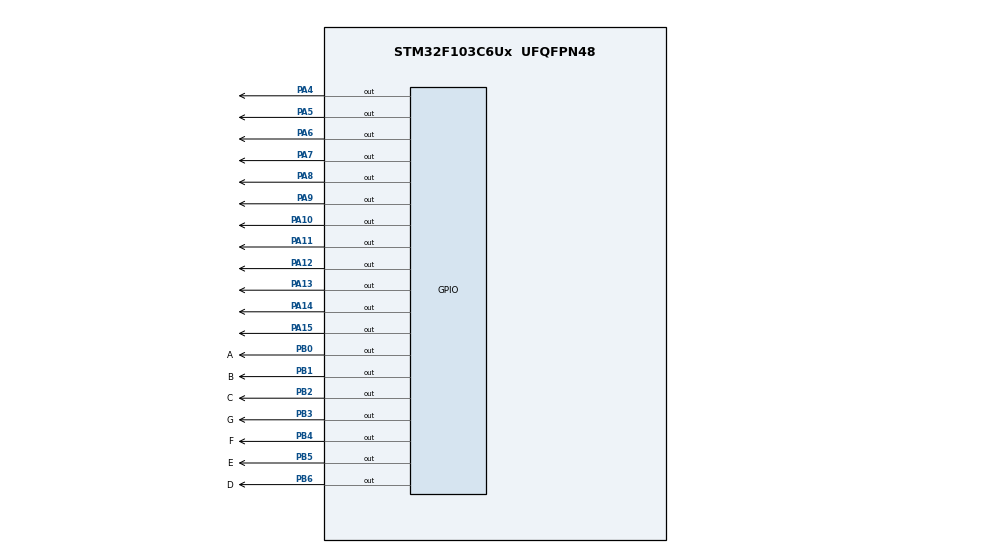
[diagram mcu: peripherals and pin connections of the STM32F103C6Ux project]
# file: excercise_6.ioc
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Mcu.Family=STM32F1
Mcu.Name=STM32F103C6Ux
Mcu.Package=UFQFPN48
NVIC.PriorityGroup=NVIC_PRIORITYGROUP_4
PA10.Signal=GPIO_Output
PA11.Signal=GPIO_Output
PA12.Signal=GPIO_Output
PA13.Signal=GPIO_Output
PA14.Signal=GPIO_Output
PA15.Signal=GPIO_Output
PA4.Signal=GPIO_Output
PA5.Signal=GPIO_Output
PA6.Signal=GPIO_Output
PA7.Signal=GPIO_Output
PA8.Signal=GPIO_Output
PA9.Signal=GPIO_Output
PB0.GPIO_Label=A
PB0.Signal=GPIO_Output
PB1.GPIO_Label=B
PB1.Signal=GPIO_Output
PB2.GPIO_Label=C
PB2.Signal=GPIO_Output
PB3.GPIO_Label=G
PB3.Signal=GPIO_Output
PB4.GPIO_Label=F
PB4.Signal=GPIO_Output
PB5.GPIO_Label=E
PB5.Signal=GPIO_Output
PB6.GPIO_Label=D
PB6.Signal=GPIO_Output
ProjectManager.HeapSize=0x200
ProjectManager.StackSize=0x400
ProjectManager.TargetToolchain=STM32CubeIDE
RCC.APB1Freq_Value=8000000
RCC.APB2Freq_Value=8000000
VP_SYS_VS_ND.Mode=No_Debug
board=custom

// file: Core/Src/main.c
/* USER CODE BEGIN Header */
/**
  ******************************************************************************
  * @file           : main.c
  * @brief          : Main program body
  ******************************************************************************
  * @attention
  *
  * <h2><center>&copy; Copyright (c) 2025 STMicroelectronics.
  * All rights reserved.</center></h2>
  *
  * This software component is licensed by ST under BSD 3-Clause license,
  * the "License"; You may not use this file except in compliance with the
  * License. You may obtain a copy of the License at:
  *                        opensource.org/licenses/BSD-3-Clause
  *
  ******************************************************************************
  */
/* USER CODE END Header */
#include "main.h"

void SystemClock_Config(void);
static void MX_GPIO_Init(void);
/* USER CODE BEGIN PFP */
void display7SEG(int num){
	switch(num){
	case 1:
		  HAL_GPIO_WritePin ( A_GPIO_Port , A_Pin , GPIO_PIN_SET );
		  HAL_GPIO_WritePin ( B_GPIO_Port , B_Pin , GPIO_PIN_RESET );
		  HAL_GPIO_WritePin ( C_GPIO_Port , C_Pin , GPIO_PIN_RESET );
		  HAL_GPIO_WritePin ( D_GPIO_Port , D_Pin , GPIO_PIN_SET );
		  HAL_GPIO_WritePin ( E_GPIO_Port , E_Pin , GPIO_PIN_SET );
		  HAL_GPIO_WritePin ( F_GPIO_Port , F_Pin , GPIO_PIN_SET );
		  HAL_GPIO_WritePin ( G_GPIO_Port , G_Pin , GPIO_PIN_SET );
		  return;

	case 2:
		  HAL_GPIO_WritePin ( A_GPIO_Port , A_Pin , GPIO_PIN_RESET );
		  HAL_GPIO_WritePin ( B_GPIO_Port , B_Pin , GPIO_PIN_RESET );
		  HAL_GPIO_WritePin ( C_GPIO_Port , C_Pin , GPIO_PIN_SET );
		  HAL_GPIO_WritePin ( D_GPIO_Port , D_Pin , GPIO_PIN_RESET );
		  HAL_GPIO_WritePin ( E_GPIO_Port , E_Pin , GPIO_PIN_SET );
		  HAL_GPIO_WritePin ( F_GPIO_Port , F_Pin , GPIO_PIN_RESET );
		  HAL_GPIO_WritePin ( G_GPIO_Port , G_Pin , GPIO_PIN_RESET );
		  return;

	case 3:
		  HAL_GPIO_WritePin ( A_GPIO_Port , A_Pin , GPIO_PIN_RESET );
		  HAL_GPIO_WritePin ( B_GPIO_Port , B_Pin , GPIO_PIN_RESET );
		  HAL_GPIO_WritePin ( C_GPIO_Port , C_Pin , GPIO_PIN_RESET );
		  HAL_GPIO_WritePin ( D_GPIO_Port , D_Pin , GPIO_PIN_RESET );
		  HAL_GPIO_WritePin ( E_GPIO_Port , E_Pin , GPIO_PIN_SET );
		  HAL_GPIO_WritePin ( F_GPIO_Port , F_Pin , GPIO_PIN_SET );
		  HAL_GPIO_WritePin ( G_GPIO_Port , G_Pin , GPIO_PIN_RESET );
		  return;

	case 4:
		  HAL_GPIO_WritePin ( A_GPIO_Port , A_Pin , GPIO_PIN_SET );
		  HAL_GPIO_WritePin ( B_GPIO_Port , B_Pin , GPIO_PIN_RESET );
		  HAL_GPIO_WritePin ( C_GPIO_Port , C_Pin , GPIO_PIN_RESET );
		  HAL_GPIO_WritePin ( D_GPIO_Port , D_Pin , GPIO_PIN_RESET );
		  HAL_GPIO_WritePin ( E_GPIO_Port , E_Pin , GPIO_PIN_RESET );
		  HAL_GPIO_WritePin ( F_GPIO_Port , F_Pin , GPIO_PIN_SET );
		  HAL_GPIO_WritePin ( G_GPIO_Port , G_Pin , GPIO_PIN_SET );
		  return;

	case 5:
		  HAL_GPIO_WritePin ( A_GPIO_Port , A_Pin , GPIO_PIN_RESET );
		  HAL_GPIO_WritePin ( B_GPIO_Port , B_Pin , GPIO_PIN_SET );
		  HAL_GPIO_WritePin ( C_GPIO_Port , C_Pin , GPIO_PIN_RESET );
		  HAL_GPIO_WritePin ( D_GPIO_Port , D_Pin , GPIO_PIN_RESET );
		  HAL_GPIO_WritePin ( E_GPIO_Port , E_Pin , GPIO_PIN_RESET );
		  HAL_GPIO_WritePin ( F_GPIO_Port , F_Pin , GPIO_PIN_SET );
		  HAL_GPIO_WritePin ( G_GPIO_Port , G_Pin , GPIO_PIN_RESET );
		  return;

	case 6:
		  HAL_GPIO_WritePin ( A_GPIO_Port , A_Pin , GPIO_PIN_RESET );
		  HAL_GPIO_WritePin ( B_GPIO_Port , B_Pin , GPIO_PIN_SET );
		  HAL_GPIO_WritePin ( C_GPIO_Port , C_Pin , GPIO_PIN_RESET );
		  HAL_GPIO_WritePin ( D_GPIO_Port , D_Pin , GPIO_PIN_RESET );
		  HAL_GPIO_WritePin ( E_GPIO_Port , E_Pin , GPIO_PIN_RESET );
		  HAL_GPIO_WritePin ( F_GPIO_Port , F_Pin , GPIO_PIN_RESET );
		  HAL_GPIO_WritePin ( G_GPIO_Port , G_Pin , GPIO_PIN_RESET );
		  return;

	case 7:
		  HAL_GPIO_WritePin ( A_GPIO_Port , A_Pin , GPIO_PIN_RESET );
		  HAL_GPIO_WritePin ( B_GPIO_Port , B_Pin , GPIO_PIN_RESET );
		  HAL_GPIO_WritePin ( C_GPIO_Port , C_Pin , GPIO_PIN_RESET );
		  HAL_GPIO_WritePin ( D_GPIO_Port , D_Pin , GPIO_PIN_SET );
		  HAL_GPIO_WritePin ( E_GPIO_Port , E_Pin , GPIO_PIN_SET );
		  HAL_GPIO_WritePin ( F_GPIO_Port , F_Pin , GPIO_PIN_SET );
		  HAL_GPIO_WritePin ( G_GPIO_Port , G_Pin , GPIO_PIN_SET );
		  return;

	case 8:
		  HAL_GPIO_WritePin ( A_GPIO_Port , A_Pin , GPIO_PIN_RESET );
		  HAL_GPIO_WritePin ( B_GPIO_Port , B_Pin , GPIO_PIN_RESET );
		  HAL_GPIO_WritePin ( C_GPIO_Port , C_Pin , GPIO_PIN_RESET );
		  HAL_GPIO_WritePin ( D_GPIO_Port , D_Pin , GPIO_PIN_RESET );
		  HAL_GPIO_WritePin ( E_GPIO_Port , E_Pin , GPIO_PIN_RESET );
		  HAL_GPIO_WritePin ( F_GPIO_Port , F_Pin , GPIO_PIN_RESET );
		  HAL_GPIO_WritePin ( G_GPIO_Port , G_Pin , GPIO_PIN_RESET );
		  return;

	case 9:
		  HAL_GPIO_WritePin ( A_GPIO_Port , A_Pin , GPIO_PIN_RESET );
		  HAL_GPIO_WritePin ( B_GPIO_Port , B_Pin , GPIO_PIN_RESET );
		  HAL_GPIO_WritePin ( C_GPIO_Port , C_Pin , GPIO_PIN_RESET );
		  HAL_GPIO_WritePin ( D_GPIO_Port , D_Pin , GPIO_PIN_RESET );
		  HAL_GPIO_WritePin ( E_GPIO_Port , E_Pin , GPIO_PIN_RESET );
		  HAL_GPIO_WritePin ( F_GPIO_Port , F_Pin , GPIO_PIN_SET );
		  HAL_GPIO_WritePin ( G_GPIO_Port , G_Pin , GPIO_PIN_RESET );
		  return;

	case 0:
		  HAL_GPIO_WritePin ( A_GPIO_Port , A_Pin , GPIO_PIN_RESET );
		  HAL_GPIO_WritePin ( B_GPIO_Port , B_Pin , GPIO_PIN_RESET );
		  HAL_GPIO_WritePin ( C_GPIO_Port , C_Pin , GPIO_PIN_RESET );
		  HAL_GPIO_WritePin ( D_GPIO_Port , D_Pin , GPIO_PIN_SET );
		  HAL_GPIO_WritePin ( E_GPIO_Port , E_Pin , GPIO_PIN_RESET );
		  HAL_GPIO_WritePin ( F_GPIO_Port , F_Pin , GPIO_PIN_RESET );
		  HAL_GPIO_WritePin ( G_GPIO_Port , G_Pin , GPIO_PIN_RESET );
		  return;

	}
}
/* USER CODE END PFP */

/* USER CODE BEGIN 0 */

uint16_t LED[] = {GPIO_PIN_4, GPIO_PIN_5, GPIO_PIN_6, GPIO_PIN_7, GPIO_PIN_8, GPIO_PIN_9, GPIO_PIN_10, GPIO_PIN_11, GPIO_PIN_12, GPIO_PIN_13, GPIO_PIN_14, GPIO_PIN_15};

void ledtestex6( int numofled, int state ){
	if(state == 0){
		HAL_GPIO_WritePin(GPIOA, LED[numofled] , GPIO_PIN_SET);
	}
	else{
		HAL_GPIO_WritePin(GPIOA, LED[numofled] , GPIO_PIN_RESET);
	}
}

void setNumberOnClock(int num){
	HAL_GPIO_WritePin(GPIOA, LED[num] , GPIO_PIN_RESET);
}

void clearNumberOnClock(int num){
	HAL_GPIO_WritePin(GPIOA, LED[num] , GPIO_PIN_SET);
}

void clearAllClock(){
	for(int i = 0; i <= 11; i ++){
		clearNumberOnClock(i);
	}
}

void setAllClock(){
	for(int i = 0; i <= 11; i ++){
		setNumberOnClock(i);
		}
}

int main(void)
{

  /* MCU Configuration--------------------------------------------------------*/

  /* Reset of all peripherals, Initializes the Flash interface and the Systick. */
  HAL_Init();

  /* Configure the system clock */
  SystemClock_Config();

  /* Initialize all configured peripherals */
  MX_GPIO_Init();

  /* Infinite loop */
  /* USER CODE BEGIN WHILE */
  int excercise = 6;

  while (1)
  {
	  if(excercise == 6){
		  display7SEG(6);
		  clearAllClock();
		  for(int i = 0; i <= 11; i++){
			  ledtestex6(i,1);
			  HAL_Delay(1000);
			  ledtestex6(i,0);
		  }
	  }
	  else if(excercise == 7){
		  display7SEG(7);
		  setAllClock();
		  HAL_Delay(1000);
		  clearAllClock();
		  HAL_Delay(5000);
	  }
	  else if(excercise == 8){
		  display7SEG(8);

		  clearAllClock();

		  for(int i = 0; i <=11; i=i+2){
			  setNumberOnClock(i);
			  HAL_Delay(1000);
		  }

		  clearAllClock();

		  for(int i = 0; i <=11; i=i+2){
			  setNumberOnClock(i+1);
			  HAL_Delay(1000);
		  }
	  }
	  else if(excercise == 9){
		  display7SEG(9);

		  setAllClock();

		  for(int i = 0; i <=11; i=i+2){
			  clearNumberOnClock(i);
			  HAL_Delay(1000);
		  }

		  setAllClock();

		  for(int i = 0; i <=11; i=i+2){
			  clearNumberOnClock(i+1);
			  HAL_Delay(1000);
		  }
	  }
  /* USER CODE END 3 */
}
}

void SystemClock_Config(void)
{
  RCC_OscInitTypeDef RCC_OscInitStruct = {0};
  RCC_ClkInitTypeDef RCC_ClkInitStruct = {0};

  /** Initializes the RCC Oscillators according to the specified parameters
  * in the RCC_OscInitTypeDef structure.
  */
  RCC_OscInitStruct.OscillatorType = RCC_OSCILLATORTYPE_HSI;
  RCC_OscInitStruct.HSIState = RCC_HSI_ON;
  RCC_OscInitStruct.HSICalibrationValue = RCC_HSICALIBRATION_DEFAULT;
  RCC_OscInitStruct.PLL.PLLState = RCC_PLL_NONE;
  if (HAL_RCC_OscConfig(&RCC_OscInitStruct) != HAL_OK)
  {
    Error_Handler();
  }
  /** Initializes the CPU, AHB and APB buses clocks
  */
  RCC_ClkInitStruct.ClockType = RCC_CLOCKTYPE_HCLK|RCC_CLOCKTYPE_SYSCLK
                              |RCC_CLOCKTYPE_PCLK1|RCC_CLOCKTYPE_PCLK2;
  RCC_ClkInitStruct.SYSCLKSource = RCC_SYSCLKSOURCE_HSI;
  RCC_ClkInitStruct.AHBCLKDivider = RCC_SYSCLK_DIV1;
  RCC_ClkInitStruct.APB1CLKDivider = RCC_HCLK_DIV1;
  RCC_ClkInitStruct.APB2CLKDivider = RCC_HCLK_DIV1;

  if (HAL_RCC_ClockConfig(&RCC_ClkInitStruct, FLASH_LATENCY_0) != HAL_OK)
  {
    Error_Handler();
  }
}

static void MX_GPIO_Init(void)
{
  GPIO_InitTypeDef GPIO_InitStruct = {0};

  /* GPIO Ports Clock Enable */
  __HAL_RCC_GPIOA_CLK_ENABLE();
  __HAL_RCC_GPIOB_CLK_ENABLE();

  /*Configure GPIO pin Output Level */
  HAL_GPIO_WritePin(GPIOA, GPIO_PIN_4|GPIO_PIN_5|GPIO_PIN_6|GPIO_PIN_7
                          |GPIO_PIN_8|GPIO_PIN_9|GPIO_PIN_10|GPIO_PIN_11
                          |GPIO_PIN_12|GPIO_PIN_13|GPIO_PIN_14|GPIO_PIN_15, GPIO_PIN_RESET);

  /*Configure GPIO pin Output Level */
  HAL_GPIO_WritePin(GPIOB, A_Pin|B_Pin|C_Pin|G_Pin
                          |F_Pin|E_Pin|D_Pin, GPIO_PIN_RESET);

  /*Configure GPIO pins : PA4 PA5 PA6 PA7
                           PA8 PA9 PA10 PA11
                           PA12 PA13 PA14 PA15 */
  GPIO_InitStruct.Pin = GPIO_PIN_4|GPIO_PIN_5|GPIO_PIN_6|GPIO_PIN_7
                          |GPIO_PIN_8|GPIO_PIN_9|GPIO_PIN_10|GPIO_PIN_11
                          |GPIO_PIN_12|GPIO_PIN_13|GPIO_PIN_14|GPIO_PIN_15;
  GPIO_InitStruct.Mode = GPIO_MODE_OUTPUT_PP;
  GPIO_InitStruct.Pull = GPIO_NOPULL;
  GPIO_InitStruct.Speed = GPIO_SPEED_FREQ_LOW;
  HAL_GPIO_Init(GPIOA, &GPIO_InitStruct);

  /*Configure GPIO pins : A_Pin B_Pin C_Pin G_Pin
                           F_Pin E_Pin D_Pin */
  GPIO_InitStruct.Pin = A_Pin|B_Pin|C_Pin|G_Pin
                          |F_Pin|E_Pin|D_Pin;
  GPIO_InitStruct.Mode = GPIO_MODE_OUTPUT_PP;
  GPIO_InitStruct.Pull = GPIO_NOPULL;
  GPIO_InitStruct.Speed = GPIO_SPEED_FREQ_LOW;
  HAL_GPIO_Init(GPIOB, &GPIO_InitStruct);

}

void Error_Handler(void)
{
  __disable_irq();
  while (1)
  {
  }
}

/************************ (C) COPYRIGHT STMicroelectronics *****END OF FILE****/
